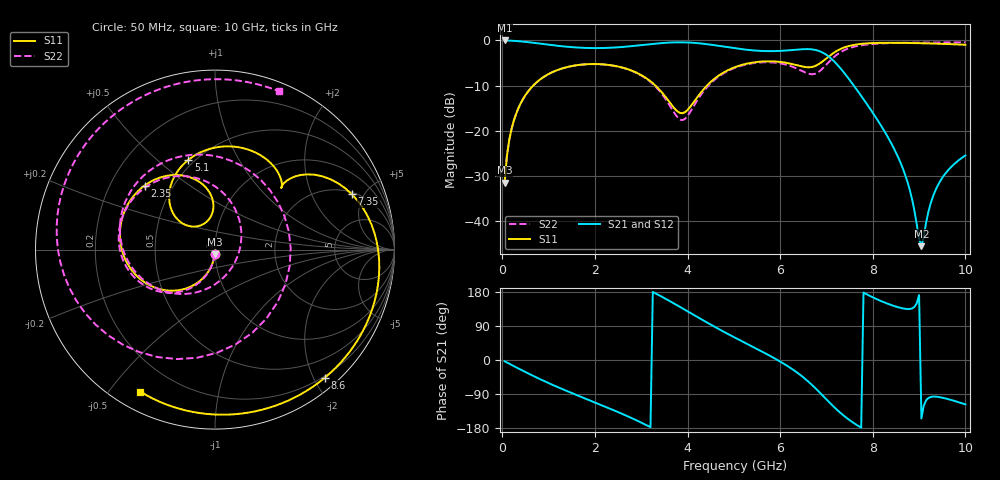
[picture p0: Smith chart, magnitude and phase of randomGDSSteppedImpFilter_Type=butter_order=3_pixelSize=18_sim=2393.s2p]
! freq	dB(S11)	phase(S11)	dB(S12)	phase(S12)
!  dB(S21)	phase(S21)	dB(S22)	phase(S22)
!S-par simulation data
#  GHz  S  DB  R 50
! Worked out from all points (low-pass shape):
!   200 points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, 50 MHz to 10 GHz, reference 50 ohm
!   highest |S21| = -0.01 dB at 50 MHz (marker M1); lowest = -45.6 dB at 9.05 GHz (marker M2)
!   |S21| within 3 dB of the highest: start of sweep to 6.97 GHz
!   lowest |S11| = -31.6 dB at 50 MHz (marker M3), VSWR 1.05, Z = 49.8 - j2.63 ohm
!   |S11| at or under -10 dB: start of sweep to 669.4 MHz; 3.305 GHz to 4.421 GHz (1.116 GHz wide, 28.9 % of centre)
!   |S22| runs from -31.6 to -0.4 dB; largest |S21 - S12| = 0
!   S11 on the Smith chart (normalised r, x): 50 MHz: 1.00, -0.05; 2.35 GHz: 0.35, +0.35; 5.1 GHz: 0.46, +0.64; 7.35 GHz: 2.14, +4.09; 8.6 GHz: 0.18, -2.16; 10 GHz: 0.08, -0.60
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0.05  -31.56 -93.5  -0.01 -3.3  -0.01 -3.3  -31.56 -93.3
0.2  -19.63 -103.7  -0.07 -13.0  -0.07 -13.0  -19.62 -103.0
0.5  -12.14 -123.3  -0.32 -31.8  -0.32 -31.8  -12.14 -121.4
1.05  -7.19 -156.1  -1.01 -63.7  -1.01 -63.7  -7.19 -152.3
1.75  -5.33 167.2  -1.64 -99.7  -1.64 -99.7  -5.34 172.6
2.35  -5.51 137.7  -1.62 -129.6  -1.62 -129.6  -5.53 142.6
3.4  -10.99 92.9  -0.62 169.9  -0.62 169.9  -11.29 69.6
3.85  -16.12 113.4  -0.41 139.2  -0.41 139.2  -17.61 -14.5
4.25  -12.06 141.4  -0.63 110.8  -0.63 110.8  -12.65 -105.2
5.05  -5.83 109.2  -1.78 57.3  -1.78 57.3  -5.98 -176.7
5.1  -5.65 106.5  -1.85 54.2  -1.85 54.2  -5.80 179.8
5.65  -4.65 77.1  -2.35 19.5  -2.35 19.5  -4.84 141.6
6.15  -5.00 53.1  -2.22 -15.2  -2.22 -15.2  -5.44 98.0
6.7  -5.86 43.4  -2.00 -67.2  -2.00 -67.2  -7.50 1.1
7.05  -3.55 39.1  -3.58 -110.3  -3.58 -110.3  -4.80 -89.0
7.35  -1.69 21.9  -6.77 -144.5  -6.77 -144.5  -2.35 -141.3
7.75  -0.76 -3.6  -12.30 -178.6  -12.30 -178.6  -1.07 175.8
8.35  -0.52 -36.8  -21.88 147.2  -21.88 147.2  -0.60 136.5
8.6  -0.54 -49.4  -27.13 137.5  -27.13 137.5  -0.53 124.0
9.05  -0.62 -71.2  -45.63 -154.3  -45.63 -154.3  -0.47 104.2
9.4  -0.72 -87.9  -32.24 -97.2  -32.24 -97.2  -0.45 90.3
10  -0.97 -117.7  -25.50 -117.1  -25.50 -117.1  -0.43 68.0
